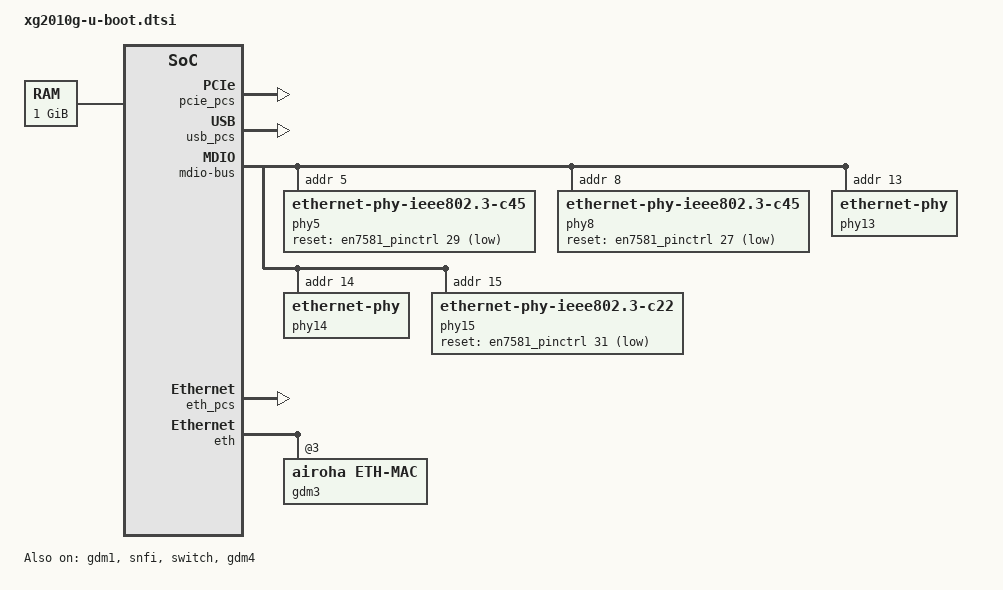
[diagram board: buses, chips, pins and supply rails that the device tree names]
// SPDX-License-Identifier: GPL-2.0+

#include "an7581-u-boot.dtsi"

/ {
	memory@80000000 {
		device_type = "memory";
		reg = <0x0 0x80000000 0x0 0x40000000>;
	};

	soc {
		pcie_pcs: pcs@1fa04000 {
			compatible = "airoha,an7581-pcs-pcie";
			reg = <0x0 0x1fa04000 0x0 0x1000>,
			      <0x0 0x1fa50000 0x0 0x60>,
			      <0x0 0x1fa50a00 0x0 0x164>,
			      <0x0 0x1fa54000 0x0 0x450>,
			      <0x0 0x1fa55900 0x0 0x338>,
			      <0x0 0x1fa56000 0x0 0x300>,
			      <0x0 0x1fa05000 0x0 0x1000>,
			      <0x0 0x1fa60000 0x0 0x60>,
			      <0x0 0x1fa60a00 0x0 0x164>,
			      <0x0 0x1fa64000 0x0 0x450>,
			      <0x0 0x1fa65900 0x0 0x338>,
			      <0x0 0x1fa66000 0x0 0x300>,
			      <0x0 0x1fa5a000 0x0 0x1000>,
			      <0x0 0x1fa5b000 0x0 0x1000>,
			      <0x0 0x1fa5c000 0x0 0x1000>;
			reg-names = "pcs_mac0", "hsgmii_an0", "hsgmii_pcs0",
				    "multi_sgmii0", "usxgmii0", "hsgmii_rate_adp0",
				    "pcs_mac1", "hsgmii_an1", "hsgmii_pcs1",
				    "multi_sgmii1", "usxgmii1", "hsgmii_rate_adp1",
				    "pcs_ana", "pcs_pma0", "pcs_pma1";
			status = "okay";
		};

		usb_pcs: pcs@1fa07000 {
			compatible = "airoha,an7581-pcs-usb";
			reg = <0x0 0x1fa07000 0x0 0x1000>,
			      <0x0 0x1fa90000 0x0 0x64>,
			      <0x0 0x1fa90a00 0x0 0x168>,
			      <0x0 0x1fa94000 0x0 0x450>,
			      <0x0 0x1fa96000 0x0 0x100>,
			      <0x0 0x1fa9a000 0x0 0x404>;
			reg-names = "xsi_mac", "hsgmii_an", "hsgmii_pcs",
				    "multi_sgmii", "hsgmii_rate_adp", "phya";

			resets = <&scuclk EN7581_HSI_RST>,
				 <&scuclk EN7581_HSI_MAC_RST>;
			reset-names = "phy", "mac";
			status = "okay";
		};
	};

	mdio-bus {
		compatible = "airoha,arht-mdio";
		#address-cells = <1>;
		#size-cells = <0>;

		phy5: ethernet-phy@5 {
			compatible = "ethernet-phy-ieee802.3-c45";
			reg = <5>;
			reset-gpios = <&en7581_pinctrl 29 GPIO_ACTIVE_LOW>;
			reset-assert-us = <200000>;
			reset-deassert-us = <200000>;
			realtek,pnswap-tx;
			realtek,pnswap-rx;
		};

		phy8: ethernet-phy@8 {
			compatible = "ethernet-phy-ieee802.3-c45";
			reg = <8>;
			reset-gpios = <&en7581_pinctrl 27 GPIO_ACTIVE_LOW>;
			reset-assert-us = <200000>;
			reset-deassert-us = <200000>;
			realtek,pnswap-tx;
			realtek,pnswap-rx;
		};

		phy13: ethernet-phy@13 {
			reg = <13>;
		};

		phy14: ethernet-phy@14 {
			reg = <14>;
		};

		phy15: ethernet-phy@15 {
			compatible = "ethernet-phy-ieee802.3-c22";
			reg = <15>;
			reset-gpios = <&en7581_pinctrl 31 GPIO_ACTIVE_LOW>;
			reset-assert-us = <1000000>;
			reset-deassert-us = <150000>;
		};
	};
};

/* LAN2 uses the RTL8261 on the PCIe1 Multi-SerDes lane. */
&pcie_pcs {
	status = "okay";
};

/* an7581-u-boot.dtsi is applied after the upstream board DTS defaults. */
&gdm1 {
	status = "okay";
};

&eth_pcs {
	status = "okay";
};

&eth {
	gdm3: ethernet@3 {
		compatible = "airoha,eth-mac";
		reg = <3>;
		status = "okay";
		phy-mode = "usxgmii";
		phy-handle = <&phy8>;
		pcs = <&pcie_pcs 1>;
		airoha,source-port = <0x17>;
		airoha,tx-channel = <11>;
		airoha,nboq = <5>;
	};
};

&snfi {
	status = "okay";
};

&switch {
	status = "okay";
	pinctrl-names = "default";
	pinctrl-0 = <&mdio_pins>;
	airoha,phy-poll-start = <5>;
	airoha,phy-poll-end = <15>;
};

&gdm4 {
	status = "okay";
	phy-mode = "usxgmii";
	phy-handle = <&phy5>;
	pcs = <&eth_pcs>;
	airoha,usb-hsgmii;
	airoha,source-port = <0x18>;
	airoha,tx-channel = <13>;
	secondary-pcs = <&usb_pcs>;
	secondary-phy = <&phy15>;
	airoha,secondary-source-port = <0x19>;
	airoha,secondary-tx-channel = <12>;
};
